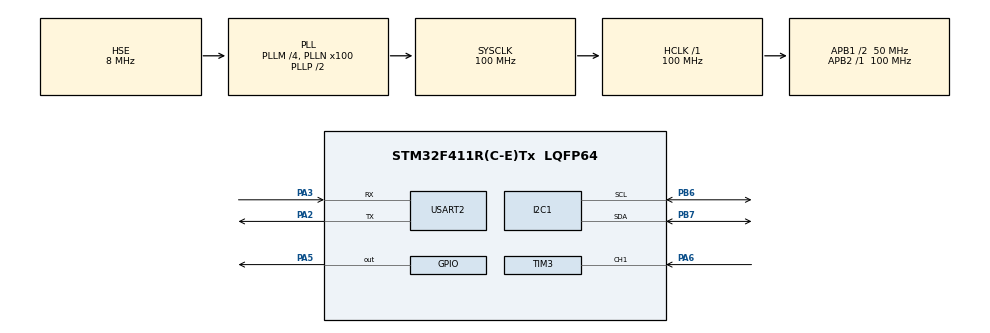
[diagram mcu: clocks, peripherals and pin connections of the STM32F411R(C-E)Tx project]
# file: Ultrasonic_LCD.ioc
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Mcu.Family=STM32F4
Mcu.Name=STM32F411R(C-E)Tx
Mcu.Package=LQFP64
NVIC.PriorityGroup=NVIC_PRIORITYGROUP_4
NVIC.TIM3_IRQn=true\:0\:0\:false\:false\:true\:true\:true\:true
NVIC.USART2_IRQn=true\:0\:0\:false\:false\:true\:true\:true\:true
PA13.Mode=Serial_Wire
PA13.Signal=SYS_JTMS-SWDIO
PA14.Mode=Serial_Wire
PA14.Signal=SYS_JTCK-SWCLK
PA2.Mode=Asynchronous
PA2.Signal=USART2_TX
PA3.Mode=Asynchronous
PA3.Signal=USART2_RX
PA5.Signal=GPIO_Output
PA6.Signal=S_TIM3_CH1
PB6.Mode=I2C
PB6.Signal=I2C1_SCL
PB7.Mode=I2C
PB7.Signal=I2C1_SDA
PH0\ -\ OSC_IN.Mode=HSE-External-Oscillator
PH0\ -\ OSC_IN.Signal=RCC_OSC_IN
PH1\ -\ OSC_OUT.Mode=HSE-External-Oscillator
PH1\ -\ OSC_OUT.Signal=RCC_OSC_OUT
ProjectManager.HeapSize=0x200
ProjectManager.StackSize=0x400
ProjectManager.TargetToolchain=STM32CubeIDE
RCC.48MHZClocksFreq_Value=50000000
RCC.AHBFreq_Value=100000000
RCC.APB1CLKDivider=RCC_HCLK_DIV2
RCC.APB1Freq_Value=50000000
RCC.APB1TimFreq_Value=100000000
RCC.APB2Freq_Value=100000000
RCC.APB2TimFreq_Value=100000000
RCC.CortexFreq_Value=100000000
RCC.HCLKFreq_Value=100000000
RCC.HSE_VALUE=8000000
RCC.HSI_VALUE=16000000
RCC.LSE_VALUE=32768
RCC.PLLM=4
RCC.PLLN=100
RCC.PLLSourceVirtual=RCC_PLLSOURCE_HSE
RCC.SYSCLKFreq_VALUE=100000000
RCC.SYSCLKSource=RCC_SYSCLKSOURCE_PLLCLK
RCC.VCOOutputFreq_Value=200000000
SH.S_TIM3_CH1.0=TIM3_CH1,Input_Capture1_from_TI1
TIM3.Channel-Input_Capture1_from_TI1=TIM_CHANNEL_1
TIM3.ICPolarity_CH1=TIM_INPUTCHANNELPOLARITY_BOTHEDGE
TIM3.Prescaler=100 - 1
USART2.VirtualMode=VM_ASYNC
VP_TIM3_VS_ClockSourceINT.Mode=Internal
board=custom

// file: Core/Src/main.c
/* USER CODE BEGIN Header */
/**
  ******************************************************************************
  * @file           : main.c
  * @brief          : Main program body
  ******************************************************************************
  * @attention
  *
  * Copyright (c) 2023 STMicroelectronics.
  * All rights reserved.
  *
  * This software is licensed under terms that can be found in the LICENSE file
  * in the root directory of this software component.
  * If no LICENSE file comes with this software, it is provided AS-IS.
  *
  ******************************************************************************
  */
/* USER CODE END Header */
#include "main.h"
#include "i2c.h"
#include "tim.h"
#include "usart.h"
#include "gpio.h"

/* USER CODE BEGIN Includes */
#include "stdio.h"
#include "stdbool.h"
#include "string.h"

#include "delay.h"
#include "I2C_LCD.h"
/* USER CODE END Includes */

/* USER CODE BEGIN PD */
#define TRIG_PORT GPIOA
#define TRIG_PIN GPIO_PIN_5
/* USER CODE END PD */

/* USER CODE BEGIN PV */
uint16_t INC_val1 = 0;
uint16_t INC_val2 = 0;
uint16_t echo_time = 0;
bool is_captured = false;
uint8_t distance = 0;
/* USER CODE END PV */

void SystemClock_Config(void);
/* USER CODE BEGIN PFP */
void HCSR04_read();
void HAL_TIM_IC_CaptureCallback(TIM_HandleTypeDef *);
/* USER CODE END PFP */

int main(void)
{

  /* MCU Configuration--------------------------------------------------------*/

  /* Reset of all peripherals, Initializes the Flash interface and the Systick. */
  HAL_Init();

  /* Configure the system clock */
  SystemClock_Config();

  /* Initialize all configured peripherals */
  MX_GPIO_Init();
  MX_TIM3_Init();
  MX_USART2_UART_Init();
  MX_I2C1_Init();
  /* USER CODE BEGIN 2 */
  HAL_TIM_IC_Start_IT(&htim3, TIM_CHANNEL_1);
  LCD_init();
  /* USER CODE END 2 */

  /* Infinite loop */
  /* USER CODE BEGIN WHILE */
  char buffer[17];

  while (1)
  {
    /* USER CODE END WHILE */

    /* USER CODE BEGIN 3 */
    HCSR04_read();
    HAL_Delay(100);
    sprintf(buffer, "distance: %dcm ", distance);
    LCD_put_cursor(0, 0);
    LCD_send_str(buffer);
  }
  /* USER CODE END 3 */
}

void SystemClock_Config(void)
{
  RCC_OscInitTypeDef RCC_OscInitStruct = {0};
  RCC_ClkInitTypeDef RCC_ClkInitStruct = {0};

  /** Configure the main internal regulator output voltage
  */
  __HAL_RCC_PWR_CLK_ENABLE();
  __HAL_PWR_VOLTAGESCALING_CONFIG(PWR_REGULATOR_VOLTAGE_SCALE1);

  /** Initializes the RCC Oscillators according to the specified parameters
  * in the RCC_OscInitTypeDef structure.
  */
  RCC_OscInitStruct.OscillatorType = RCC_OSCILLATORTYPE_HSE;
  RCC_OscInitStruct.HSEState = RCC_HSE_ON;
  RCC_OscInitStruct.PLL.PLLState = RCC_PLL_ON;
  RCC_OscInitStruct.PLL.PLLSource = RCC_PLLSOURCE_HSE;
  RCC_OscInitStruct.PLL.PLLM = 4;
  RCC_OscInitStruct.PLL.PLLN = 100;
  RCC_OscInitStruct.PLL.PLLP = RCC_PLLP_DIV2;
  RCC_OscInitStruct.PLL.PLLQ = 4;
  if (HAL_RCC_OscConfig(&RCC_OscInitStruct) != HAL_OK)
  {
    Error_Handler();
  }

  /** Initializes the CPU, AHB and APB buses clocks
  */
  RCC_ClkInitStruct.ClockType = RCC_CLOCKTYPE_HCLK|RCC_CLOCKTYPE_SYSCLK
                              |RCC_CLOCKTYPE_PCLK1|RCC_CLOCKTYPE_PCLK2;
  RCC_ClkInitStruct.SYSCLKSource = RCC_SYSCLKSOURCE_PLLCLK;
  RCC_ClkInitStruct.AHBCLKDivider = RCC_SYSCLK_DIV1;
  RCC_ClkInitStruct.APB1CLKDivider = RCC_HCLK_DIV2;
  RCC_ClkInitStruct.APB2CLKDivider = RCC_HCLK_DIV1;

  if (HAL_RCC_ClockConfig(&RCC_ClkInitStruct, FLASH_LATENCY_3) != HAL_OK)
  {
    Error_Handler();
  }
}

/* USER CODE BEGIN 4 */
void HCSR04_read() {
    HAL_GPIO_WritePin(TRIG_PORT, TRIG_PIN, GPIO_PIN_SET);
    delay_us(10);
    HAL_GPIO_WritePin(TRIG_PORT, TRIG_PIN, GPIO_PIN_RESET);
}

void HAL_TIM_IC_CaptureCallback(TIM_HandleTypeDef *htim) {
    if (htim->Instance == TIM3) {
        if (!is_captured) {
            INC_val1 = HAL_TIM_ReadCapturedValue(htim, TIM_CHANNEL_1);
            is_captured = true;
        }
        else {
            INC_val2 = HAL_TIM_ReadCapturedValue(htim, TIM_CHANNEL_1);
            __HAL_TIM_SET_COUNTER(htim, 0);

            if (INC_val2 > INC_val1) {
                echo_time = INC_val2 - INC_val1;
            }
            else {
                echo_time = 0xffff - INC_val1 + INC_val2;
            }

            distance = echo_time * 0.034 / 2;

            is_captured = false;
        }
    }
}
/* USER CODE END 4 */

void Error_Handler(void)
{
  __disable_irq();
  while (1)
  {
  }
}
